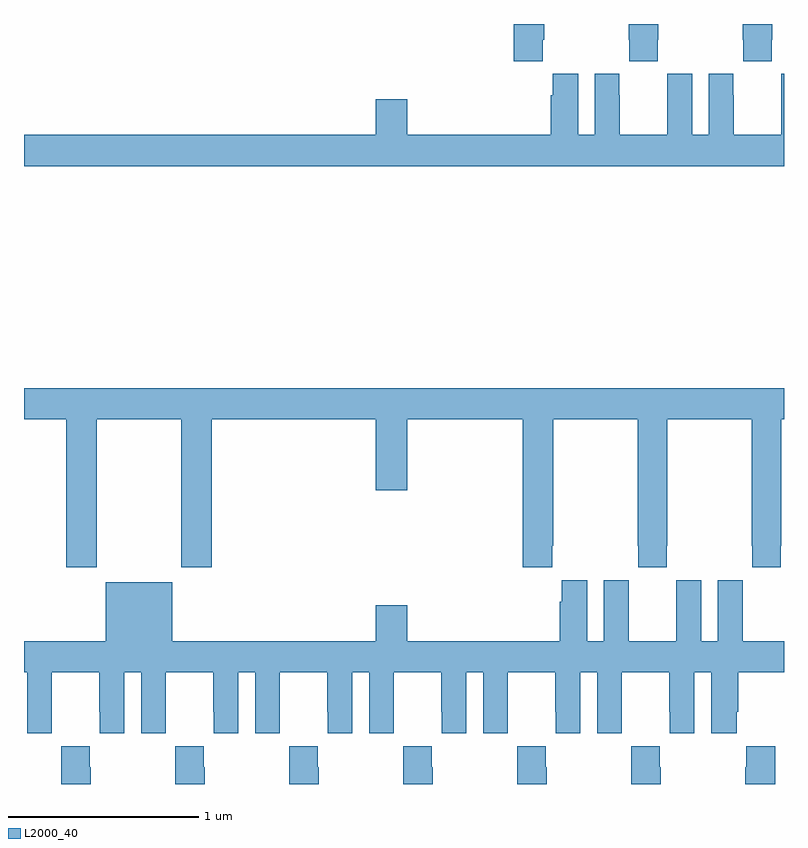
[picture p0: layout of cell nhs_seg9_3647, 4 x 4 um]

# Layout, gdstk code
import gdstk
lib = gdstk.Library(unit=1e-6, precision=1e-09)
def P(c, l, *ps):  # polygons
    for p in ps: c.add(gdstk.Polygon(p, *l))
L2000_40 = (2000, 40)

nhs_seg9_3647 = lib.new_cell('nhs_seg9_3647')
P(nhs_seg9_3647, L2000_40, [(322.935,1198.417),(322.938,1198.417),(322.938,1198.5),(322.783,1198.5),(322.783,1198.417),(322.785,1198.417),(322.785,1198.305),(322.935,1198.305)],
  [(322.335,1198.417),(322.338,1198.417),(322.338,1198.5),(322.183,1198.5),(322.183,1198.417),(322.185,1198.417),(322.185,1198.305),(322.335,1198.305)],
  [(321.731,1198.417),(321.738,1198.417),(321.738,1198.5),(321.578,1198.5),(321.578,1198.305),(321.731,1198.305)],
  [(323,1198.237),(322.986,1198.237),(322.986,1198.124),(322.985,1198.124),(322.985,1197.916),(322.735,1197.916),(322.735,1198.124),(322.734,1198.124),(322.734,1198.237),(322.604,1198.237),(322.604,1197.916),(322.516,1197.916),(322.516,1198.237),(322.386,1198.237),(322.386,1198.124),(322.385,1198.124),(322.385,1197.916),(322.135,1197.916),(322.135,1198.124),(322.134,1198.124),(322.134,1198.237),(322.004,1198.237),(322.004,1197.916),(321.916,1197.916),(321.916,1198.237),(321.782,1198.237),(321.782,1198.124),(321.773,1198.124),(321.773,1197.916),(321.016,1197.916),(321.016,1198.105),(320.852,1198.105),(320.852,1197.916),(319,1197.916),(319,1197.752),(323,1197.752)],
  [(319,1196.42),(319.223,1196.42),(319.223,1195.641),(319.383,1195.641),(319.383,1196.42),(319.828,1196.42),(319.828,1195.641),(319.988,1195.641),(319.988,1196.42),(320.852,1196.42),(320.852,1196.046),(321.016,1196.046),(321.016,1196.42),(321.626,1196.42),(321.626,1195.641),(321.779,1195.641),(321.779,1195.753),(321.786,1195.753),(321.786,1196.42),(322.231,1196.42),(322.231,1195.753),(322.233,1195.753),(322.233,1195.641),(322.383,1195.641),(322.383,1195.753),(322.386,1195.753),(322.386,1196.42),(322.831,1196.42),(322.831,1195.753),(322.833,1195.753),(322.833,1195.641),(322.983,1195.641),(322.983,1195.753),(322.986,1195.753),(322.986,1196.42),(323,1196.42),(323,1196.584),(319,1196.584)],
  [(319.146,1194.88),(319.147,1194.88),(319.147,1195.088),(319.397,1195.088),(319.397,1194.88),(319.398,1194.88),(319.398,1194.768),(319.528,1194.768),(319.528,1195.088),(319.616,1195.088),(319.616,1194.768),(319.746,1194.768),(319.746,1194.88),(319.747,1194.88),(319.747,1195.088),(319.997,1195.088),(319.997,1194.88),(319.998,1194.88),(319.998,1194.768),(320.128,1194.768),(320.128,1195.088),(320.216,1195.088),(320.216,1194.768),(320.346,1194.768),(320.346,1194.88),(320.347,1194.88),(320.347,1195.088),(320.597,1195.088),(320.597,1194.88),(320.598,1194.88),(320.598,1194.768),(320.728,1194.768),(320.728,1195.088),(320.816,1195.088),(320.816,1194.768),(320.946,1194.768),(320.946,1194.88),(320.947,1194.88),(320.947,1195.088),(321.197,1195.088),(321.197,1194.88),(321.198,1194.88),(321.198,1194.768),(321.328,1194.768),(321.328,1195.088),(321.416,1195.088),(321.416,1194.768),(321.546,1194.768),(321.546,1194.88),(321.547,1194.88),(321.547,1195.088),(321.797,1195.088),(321.797,1194.88),(321.798,1194.88),(321.798,1194.768),(321.928,1194.768),(321.928,1195.088),(322.016,1195.088),(322.016,1194.768),(322.146,1194.768),(322.146,1194.88),(322.147,1194.88),(322.147,1195.088),(322.397,1195.088),(322.397,1194.88),(322.398,1194.88),(322.398,1194.768),(322.528,1194.768),(322.528,1195.088),(322.616,1195.088),(322.616,1194.768),(322.75,1194.768),(322.75,1194.88),(322.76,1194.88),(322.76,1195.088),(323,1195.088),(323,1195.252),(322.783,1195.252),(322.783,1195.46),(322.782,1195.46),(322.782,1195.573),(322.652,1195.573),(322.652,1195.252),(322.564,1195.252),(322.564,1195.573),(322.434,1195.573),(322.434,1195.46),(322.433,1195.46),(322.433,1195.252),(322.183,1195.252),(322.183,1195.46),(322.182,1195.46),(322.182,1195.573),(322.052,1195.573),(322.052,1195.252),(321.964,1195.252),(321.964,1195.573),(321.83,1195.573),(321.83,1195.46),(321.821,1195.46),(321.821,1195.252),(321.016,1195.252),(321.016,1195.441),(320.852,1195.441),(320.852,1195.252),(319.78,1195.252),(319.78,1195.561),(319.43,1195.561),(319.43,1195.252),(319,1195.252),(319,1195.088),(319.016,1195.088),(319.016,1194.768),(319.146,1194.768)],
  [(319.35,1194.587),(319.347,1194.587),(319.347,1194.7),(319.197,1194.7),(319.197,1194.587),(319.195,1194.587),(319.195,1194.5),(319.35,1194.5)],
  [(319.95,1194.587),(319.947,1194.587),(319.947,1194.7),(319.797,1194.7),(319.797,1194.587),(319.795,1194.587),(319.795,1194.5),(319.95,1194.5)],
  [(320.55,1194.587),(320.547,1194.587),(320.547,1194.7),(320.397,1194.7),(320.397,1194.587),(320.395,1194.587),(320.395,1194.5),(320.55,1194.5)],
  [(321.15,1194.587),(321.147,1194.587),(321.147,1194.7),(320.997,1194.7),(320.997,1194.587),(320.995,1194.587),(320.995,1194.5),(321.15,1194.5)],
  [(321.75,1194.587),(321.747,1194.587),(321.747,1194.7),(321.597,1194.7),(321.597,1194.587),(321.595,1194.587),(321.595,1194.5),(321.75,1194.5)],
  [(322.35,1194.587),(322.347,1194.587),(322.347,1194.7),(322.197,1194.7),(322.197,1194.587),(322.195,1194.587),(322.195,1194.5),(322.35,1194.5)],
  [(322.955,1194.7),(322.801,1194.7),(322.801,1194.587),(322.795,1194.587),(322.795,1194.5),(322.955,1194.5)])

lib.write_gds('nhs_seg9_3647.gds')
